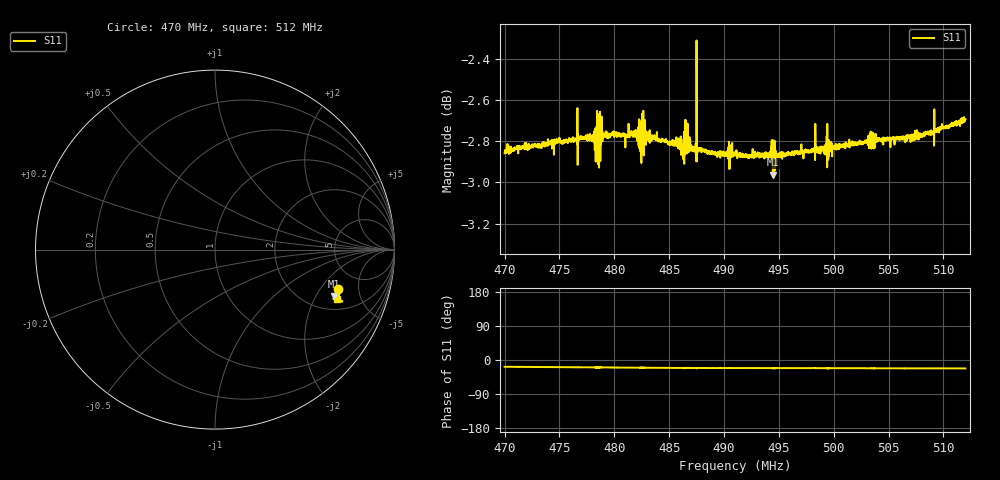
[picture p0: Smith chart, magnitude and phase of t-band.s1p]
! Calibrated averaged scanner-service zoom
# Hz S RI R 50
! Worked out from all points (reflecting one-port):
!   4001 points, 470 MHz to 512 MHz, reference 50 ohm
!   lowest |S11| = -3.0 dB at 494.4 MHz (marker M1), VSWR 5.92, Z = 137 - j143 ohm
!   phase of S11 starts at -18 deg and turns -4 deg over the sweep
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4.7e8  0.6848 -0.2211
4.71071e8  0.6858 -0.2242
4.7525e8  0.6851 -0.2348
4.78106e8  0.6856 -0.2428
4.782425e8  0.6882 -0.2422
4.784105e8  0.6859 -0.2452
4.78736e8  0.6803 -0.2403
4.78904e8  0.6856 -0.2465
4.805e8  0.6839 -0.2475
4.82075e8  0.6801 -0.2504
4.824845e8  0.6769 -0.2557
4.82852e8  0.6826 -0.2538
4.8575e8  0.675 -0.2585
4.862435e8  0.6715 -0.2638
4.86674e8  0.6819 -0.2652
4.87157e8  0.6723 -0.2593
4.87703e8  0.6731 -0.2594
4.877135e8  0.6732 -0.26
4.91e8  0.6708 -0.2601
4.940135e8  0.6691 -0.2623
4.94444e8  0.6622 -0.2586
4.94843e8  0.6691 -0.2614
4.9625e8  0.6707 -0.2627
4.99421e8  0.6701 -0.2633
5.015e8  0.6722 -0.2671
5.0675e8  0.6742 -0.2715
5.08913e8  0.6745 -0.2738
5.12e8  0.6787 -0.2778
